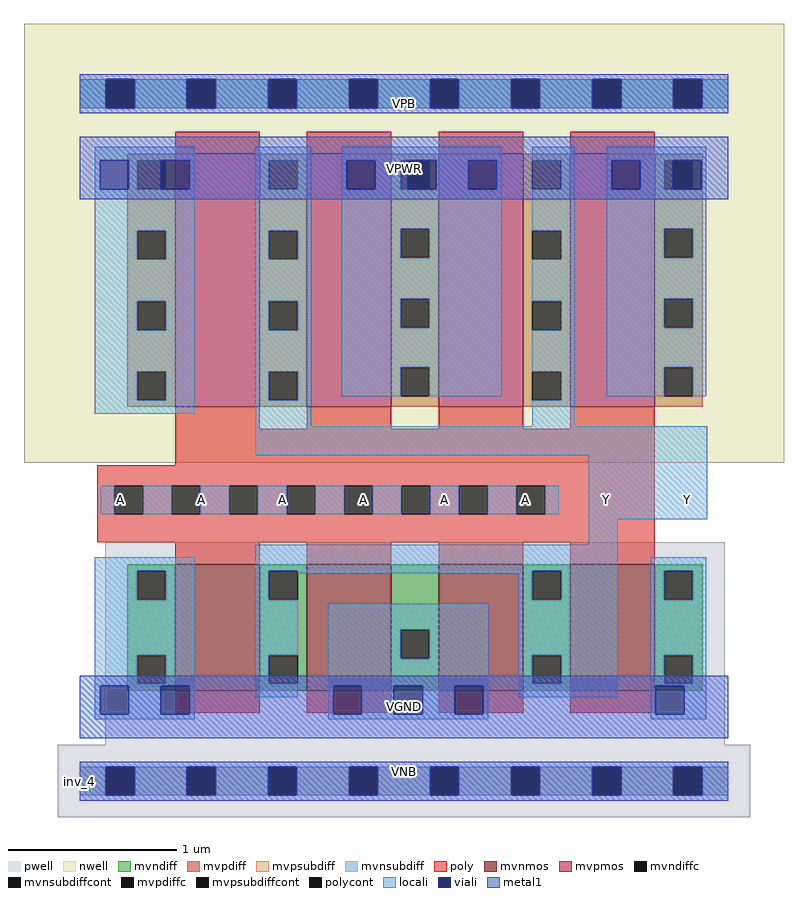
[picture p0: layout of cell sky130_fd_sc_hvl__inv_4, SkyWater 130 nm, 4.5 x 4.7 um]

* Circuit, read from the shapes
.subckt sky130_fd_sc_hvl__inv_4 A VGND VNB VPB VPWR Y
XM1 Y A VGND VNB sky130_fd_pr__nfet_g5v0d10v5 w=0.75 l=0.5 m=4
XM2 Y A VPWR VPB sky130_fd_pr__pfet_g5v0d10v5 w=1.5 l=0.5 m=4
.ends

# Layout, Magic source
magic
tech sky130B
magscale 1 2
<< nwell >>
rect -66 377 834 897
<< pwell >>
rect 30 43 764 283
rect -26 -43 794 43
<< mvnmos >>
rect 113 107 213 257
rect 269 107 369 257
rect 425 107 525 257
rect 581 107 681 257
<< mvpmos >>
rect 113 443 213 743
rect 269 443 369 743
rect 425 443 525 743
rect 581 443 681 743
<< mvndiff >>
rect 56 249 113 257
rect 56 215 68 249
rect 102 215 113 249
rect 56 149 113 215
rect 56 115 68 149
rect 102 115 113 149
rect 56 107 113 115
rect 213 249 269 257
rect 213 215 224 249
rect 258 215 269 249
rect 213 149 269 215
rect 213 115 224 149
rect 258 115 269 149
rect 213 107 269 115
rect 369 179 425 257
rect 369 145 380 179
rect 414 145 425 179
rect 369 107 425 145
rect 525 249 581 257
rect 525 215 536 249
rect 570 215 581 249
rect 525 149 581 215
rect 525 115 536 149
rect 570 115 581 149
rect 525 107 581 115
rect 681 249 738 257
rect 681 215 692 249
rect 726 215 738 249
rect 681 149 738 215
rect 681 115 692 149
rect 726 115 738 149
rect 681 107 738 115
<< mvpdiff >>
rect 56 735 113 743
rect 56 701 68 735
rect 102 701 113 735
rect 56 652 113 701
rect 56 618 68 652
rect 102 618 113 652
rect 56 568 113 618
rect 56 534 68 568
rect 102 534 113 568
rect 56 485 113 534
rect 56 451 68 485
rect 102 451 113 485
rect 56 443 113 451
rect 213 735 269 743
rect 213 701 224 735
rect 258 701 269 735
rect 213 652 269 701
rect 213 618 224 652
rect 258 618 269 652
rect 213 568 269 618
rect 213 534 224 568
rect 258 534 269 568
rect 213 485 269 534
rect 213 451 224 485
rect 258 451 269 485
rect 213 443 269 451
rect 369 735 425 743
rect 369 701 380 735
rect 414 701 425 735
rect 369 654 425 701
rect 369 620 380 654
rect 414 620 425 654
rect 369 571 425 620
rect 369 537 380 571
rect 414 537 425 571
rect 369 490 425 537
rect 369 456 380 490
rect 414 456 425 490
rect 369 443 425 456
rect 525 735 581 743
rect 525 701 536 735
rect 570 701 581 735
rect 525 652 581 701
rect 525 618 536 652
rect 570 618 581 652
rect 525 568 581 618
rect 525 534 536 568
rect 570 534 581 568
rect 525 485 581 534
rect 525 451 536 485
rect 570 451 581 485
rect 525 443 581 451
rect 681 735 738 743
rect 681 701 692 735
rect 726 701 738 735
rect 681 654 738 701
rect 681 620 692 654
rect 726 620 738 654
rect 681 571 738 620
rect 681 537 692 571
rect 726 537 738 571
rect 681 490 738 537
rect 681 456 692 490
rect 726 456 738 490
rect 681 443 738 456
<< mvndiffc >>
rect 68 215 102 249
rect 68 115 102 149
rect 224 215 258 249
rect 224 115 258 149
rect 380 145 414 179
rect 536 215 570 249
rect 536 115 570 149
rect 692 215 726 249
rect 692 115 726 149
<< mvpdiffc >>
rect 68 701 102 735
rect 68 618 102 652
rect 68 534 102 568
rect 68 451 102 485
rect 224 701 258 735
rect 224 618 258 652
rect 224 534 258 568
rect 224 451 258 485
rect 380 701 414 735
rect 380 620 414 654
rect 380 537 414 571
rect 380 456 414 490
rect 536 701 570 735
rect 536 618 570 652
rect 536 534 570 568
rect 536 451 570 485
rect 692 701 726 735
rect 692 620 726 654
rect 692 537 726 571
rect 692 456 726 490
<< mvpsubdiff >>
rect 0 -17 31 17
rect 65 -17 127 17
rect 161 -17 223 17
rect 257 -17 319 17
rect 353 -17 415 17
rect 449 -17 511 17
rect 545 -17 607 17
rect 641 -17 703 17
rect 737 -17 768 17
<< mvnsubdiff >>
rect 0 797 31 831
rect 65 797 127 831
rect 161 797 223 831
rect 257 797 319 831
rect 353 797 415 831
rect 449 797 511 831
rect 545 797 607 831
rect 641 797 703 831
rect 737 797 768 831
<< mvpsubdiffcont >>
rect 31 -17 65 17
rect 127 -17 161 17
rect 223 -17 257 17
rect 319 -17 353 17
rect 415 -17 449 17
rect 511 -17 545 17
rect 607 -17 641 17
rect 703 -17 737 17
<< mvnsubdiffcont >>
rect 31 797 65 831
rect 127 797 161 831
rect 223 797 257 831
rect 319 797 353 831
rect 415 797 449 831
rect 511 797 545 831
rect 607 797 641 831
rect 703 797 737 831
<< poly >>
rect 113 743 213 769
rect 269 743 369 769
rect 425 743 525 769
rect 581 743 681 769
rect 113 417 213 443
rect 269 417 369 443
rect 425 417 525 443
rect 581 417 681 443
rect 113 374 681 417
rect 21 350 681 374
rect 21 316 41 350
rect 75 316 109 350
rect 143 316 177 350
rect 211 316 245 350
rect 279 316 313 350
rect 347 316 381 350
rect 415 316 449 350
rect 483 316 517 350
rect 551 316 681 350
rect 21 283 681 316
rect 113 257 213 283
rect 269 257 369 283
rect 425 257 525 283
rect 581 257 681 283
rect 113 81 213 107
rect 269 81 369 107
rect 425 81 525 107
rect 581 81 681 107
<< polycont >>
rect 41 316 75 350
rect 109 316 143 350
rect 177 316 211 350
rect 245 316 279 350
rect 313 316 347 350
rect 381 316 415 350
rect 449 316 483 350
rect 517 316 551 350
<< locali >>
rect 0 797 31 831
rect 65 797 127 831
rect 161 797 223 831
rect 257 797 319 831
rect 353 797 415 831
rect 449 797 511 831
rect 545 797 607 831
rect 641 797 703 831
rect 737 797 768 831
rect 18 735 136 751
rect 18 701 24 735
rect 58 701 68 735
rect 130 701 136 735
rect 18 652 136 701
rect 18 618 68 652
rect 102 618 136 652
rect 18 568 136 618
rect 18 534 68 568
rect 102 534 136 568
rect 18 485 136 534
rect 18 451 68 485
rect 102 451 136 485
rect 18 435 136 451
rect 208 735 274 751
rect 208 701 224 735
rect 258 701 274 735
rect 208 652 274 701
rect 208 618 224 652
rect 258 618 274 652
rect 208 568 274 618
rect 208 534 224 568
rect 258 534 274 568
rect 208 485 274 534
rect 208 451 224 485
rect 258 451 274 485
rect 310 735 500 751
rect 310 701 316 735
rect 350 701 380 735
rect 422 701 460 735
rect 494 701 500 735
rect 310 654 500 701
rect 310 620 380 654
rect 414 620 500 654
rect 310 571 500 620
rect 310 537 380 571
rect 414 537 500 571
rect 310 490 500 537
rect 310 456 380 490
rect 414 456 500 490
rect 536 735 586 751
rect 570 701 586 735
rect 536 652 586 701
rect 570 618 586 652
rect 536 568 586 618
rect 570 534 586 568
rect 536 485 586 534
rect 208 420 274 451
rect 570 451 586 485
rect 624 735 742 751
rect 624 701 630 735
rect 664 701 692 735
rect 736 701 742 735
rect 624 654 742 701
rect 624 620 692 654
rect 726 620 742 654
rect 624 571 742 620
rect 624 537 692 571
rect 726 537 742 571
rect 624 490 742 537
rect 624 456 692 490
rect 726 456 742 490
rect 536 420 586 451
rect 208 386 743 420
rect 25 316 41 350
rect 75 316 109 350
rect 143 316 177 350
rect 211 316 245 350
rect 279 316 313 350
rect 347 316 381 350
rect 415 316 449 350
rect 483 316 517 350
rect 551 316 567 350
rect 603 310 743 386
rect 603 280 637 310
rect 18 249 136 265
rect 18 215 68 249
rect 102 215 136 249
rect 18 149 136 215
rect 18 115 68 149
rect 102 115 136 149
rect 18 113 136 115
rect 18 79 24 113
rect 58 79 96 113
rect 130 79 136 113
rect 208 249 637 280
rect 208 215 224 249
rect 258 246 536 249
rect 208 149 258 215
rect 520 215 536 246
rect 570 215 637 249
rect 208 115 224 149
rect 208 99 258 115
rect 294 179 484 210
rect 294 145 380 179
rect 414 145 484 179
rect 294 113 484 145
rect 18 73 136 79
rect 294 79 300 113
rect 334 79 372 113
rect 406 79 444 113
rect 478 79 484 113
rect 520 149 637 215
rect 520 115 536 149
rect 570 115 637 149
rect 520 99 637 115
rect 676 249 742 265
rect 676 215 692 249
rect 726 215 742 249
rect 676 149 742 215
rect 676 115 692 149
rect 726 115 742 149
rect 676 113 742 115
rect 294 73 484 79
rect 676 79 682 113
rect 716 79 742 113
rect 676 73 742 79
rect 0 -17 31 17
rect 65 -17 127 17
rect 161 -17 223 17
rect 257 -17 319 17
rect 353 -17 415 17
rect 449 -17 511 17
rect 545 -17 607 17
rect 641 -17 703 17
rect 737 -17 768 17
<< viali >>
rect 31 797 65 831
rect 127 797 161 831
rect 223 797 257 831
rect 319 797 353 831
rect 415 797 449 831
rect 511 797 545 831
rect 607 797 641 831
rect 703 797 737 831
rect 24 701 58 735
rect 96 701 102 735
rect 102 701 130 735
rect 316 701 350 735
rect 388 701 414 735
rect 414 701 422 735
rect 460 701 494 735
rect 630 701 664 735
rect 702 701 726 735
rect 726 701 736 735
rect 24 79 58 113
rect 96 79 130 113
rect 300 79 334 113
rect 372 79 406 113
rect 444 79 478 113
rect 682 79 716 113
rect 31 -17 65 17
rect 127 -17 161 17
rect 223 -17 257 17
rect 319 -17 353 17
rect 415 -17 449 17
rect 511 -17 545 17
rect 607 -17 641 17
rect 703 -17 737 17
<< metal1 >>
rect 0 831 768 837
rect 0 797 31 831
rect 65 797 127 831
rect 161 797 223 831
rect 257 797 319 831
rect 353 797 415 831
rect 449 797 511 831
rect 545 797 607 831
rect 641 797 703 831
rect 737 797 768 831
rect 0 791 768 797
rect 0 735 768 763
rect 0 701 24 735
rect 58 701 96 735
rect 130 701 316 735
rect 350 701 388 735
rect 422 701 460 735
rect 494 701 630 735
rect 664 701 702 735
rect 736 701 768 735
rect 0 689 768 701
rect 0 113 768 125
rect 0 79 24 113
rect 58 79 96 113
rect 130 79 300 113
rect 334 79 372 113
rect 406 79 444 113
rect 478 79 682 113
rect 716 79 768 113
rect 0 51 768 79
rect 0 17 768 23
rect 0 -17 31 17
rect 65 -17 127 17
rect 161 -17 223 17
rect 257 -17 319 17
rect 353 -17 415 17
rect 449 -17 511 17
rect 545 -17 607 17
rect 641 -17 703 17
rect 737 -17 768 17
rect 0 -23 768 -17
<< labels >>
rlabel comment s 0 0 0 0 4 inv_4
flabel metal1 s 0 51 768 125 0 FreeSans 340 0 0 0 VGND
port 2 nsew ground bidirectional
flabel metal1 s 0 0 768 23 0 FreeSans 340 0 0 0 VNB
port 3 nsew ground bidirectional
flabel metal1 s 0 689 768 763 0 FreeSans 340 0 0 0 VPWR
port 5 nsew power bidirectional
flabel metal1 s 0 791 768 814 0 FreeSans 340 0 0 0 VPB
port 4 nsew power bidirectional
flabel locali s 607 316 641 350 0 FreeSans 340 0 0 0 Y
port 6 nsew signal output
flabel locali s 703 316 737 350 0 FreeSans 340 0 0 0 Y
port 6 nsew signal output
flabel locali s 31 316 65 350 0 FreeSans 340 0 0 0 A
port 1 nsew signal input
flabel locali s 127 316 161 350 0 FreeSans 340 0 0 0 A
port 1 nsew signal input
flabel locali s 223 316 257 350 0 FreeSans 340 0 0 0 A
port 1 nsew signal input
flabel locali s 319 316 353 350 0 FreeSans 340 0 0 0 A
port 1 nsew signal input
flabel locali s 415 316 449 350 0 FreeSans 340 0 0 0 A
port 1 nsew signal input
flabel locali s 511 316 545 350 0 FreeSans 340 0 0 0 A
port 1 nsew signal input
<< properties >>
string FIXED_BBOX 0 0 768 814
string GDS_END 69816
string GDS_FILE $PDKPATH/libs.ref/sky130_fd_sc_hvl/gds/sky130_fd_sc_hvl.gds
string GDS_START 59660
string LEFclass CORE
string LEFsite unithv
string LEFsymmetry X Y
<< end >>
